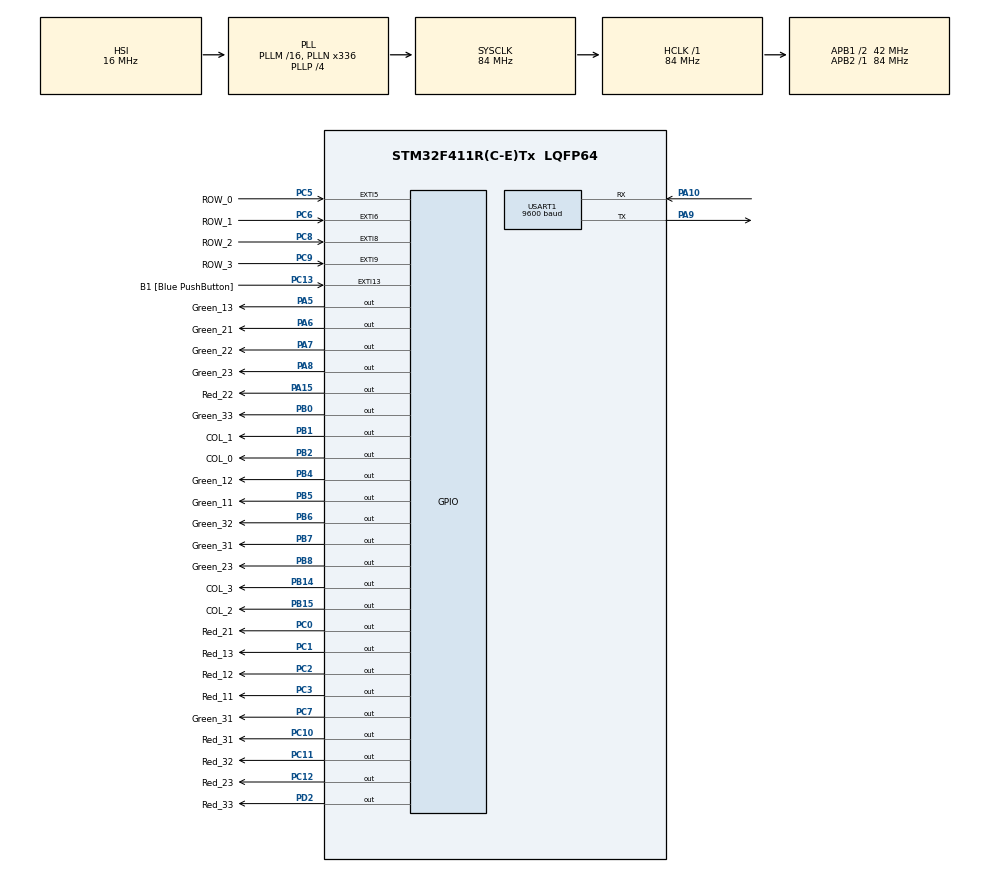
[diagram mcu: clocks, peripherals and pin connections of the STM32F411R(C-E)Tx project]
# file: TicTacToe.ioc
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Mcu.Family=STM32F4
Mcu.Name=STM32F411R(C-E)Tx
Mcu.Package=LQFP64
NVIC.EXTI9_5_IRQn=true\:0\:0\:false\:false\:true\:true\:true\:true
NVIC.PriorityGroup=NVIC_PRIORITYGROUP_0
PA10.Mode=Asynchronous
PA10.Signal=USART1_RX
PA13.GPIO_Label=TMS
PA13.Mode=Serial_Wire
PA13.Signal=SYS_JTMS-SWDIO
PA14.GPIO_Label=TCK
PA14.Mode=Serial_Wire
PA14.Signal=SYS_JTCK-SWCLK
PA15.GPIO_Label=Red_22
PA15.Signal=GPIO_Output
PA5.GPIO_Label=Green_13
PA5.Signal=GPIO_Output
PA6.GPIO_Label=Green_21
PA6.Signal=GPIO_Output
PA7.GPIO_Label=Green_22
PA7.Signal=GPIO_Output
PA8.GPIO_Label=Green_23
PA8.Signal=GPIO_Output
PA9.Mode=Asynchronous
PA9.Signal=USART1_TX
PB0.GPIO_Label=Green_33
PB0.Signal=GPIO_Output
PB1.GPIO_Label=COL_1
PB1.Signal=GPIO_Output
PB14.GPIO_Label=COL_3
PB14.Signal=GPIO_Output
PB15.GPIO_Label=COL_2
PB15.Signal=GPIO_Output
PB2.GPIO_Label=COL_0
PB2.Signal=GPIO_Output
PB3.GPIO_Label=SWO
PB3.Signal=SYS_JTDO-SWO
PB4.GPIO_Label=Green_12
PB4.Signal=GPIO_Output
PB5.GPIO_Label=Green_11
PB5.Signal=GPIO_Output
PB6.GPIO_Label=Green_32
PB6.Signal=GPIO_Output
PB7.GPIO_Label=Green_31
PB7.Signal=GPIO_Output
PB8.GPIO_Label=Green_23
PB8.Signal=GPIO_Output
PC0.GPIO_Label=Red_21
PC0.Signal=GPIO_Output
PC1.GPIO_Label=Red_13
PC1.Signal=GPIO_Output
PC10.GPIO_Label=Red_31
PC10.Signal=GPIO_Output
PC11.GPIO_Label=Red_32
PC11.Signal=GPIO_Output
PC12.GPIO_Label=Red_23
PC12.Signal=GPIO_Output
PC13-ANTI_TAMP.GPIO_Label=B1 [Blue PushButton]
PC13-ANTI_TAMP.GPIO_ModeDefaultEXTI=GPIO_MODE_IT_FALLING
PC13-ANTI_TAMP.Signal=GPXTI13
PC14-OSC32_IN.Mode=LSE-External-Oscillator
PC14-OSC32_IN.Signal=RCC_OSC32_IN
PC15-OSC32_OUT.Mode=LSE-External-Oscillator
PC15-OSC32_OUT.Signal=RCC_OSC32_OUT
PC2.GPIO_Label=Red_12
PC2.Signal=GPIO_Output
PC3.GPIO_Label=Red_11
PC3.Signal=GPIO_Output
PC5.GPIO_Label=ROW_0
PC5.GPIO_ModeDefaultEXTI=GPIO_MODE_IT_RISING
PC5.GPIO_PuPd=GPIO_PULLDOWN
PC5.Signal=GPXTI5
PC6.GPIO_Label=ROW_1
PC6.GPIO_ModeDefaultEXTI=GPIO_MODE_IT_RISING
PC6.GPIO_PuPd=GPIO_PULLDOWN
PC6.Signal=GPXTI6
PC7.GPIO_Label=Green_31
PC7.Signal=GPIO_Output
PC8.GPIO_Label=ROW_2
PC8.GPIO_ModeDefaultEXTI=GPIO_MODE_IT_RISING
PC8.GPIO_PuPd=GPIO_PULLDOWN
PC8.Signal=GPXTI8
PC9.GPIO_Label=ROW_3
PC9.GPIO_ModeDefaultEXTI=GPIO_MODE_IT_RISING
PC9.GPIO_PuPd=GPIO_PULLDOWN
PC9.Signal=GPXTI9
PD2.GPIO_Label=Red_33
PD2.Signal=GPIO_Output
PH0\ -\ OSC_IN.Mode=HSE-External-Clock-Source
PH0\ -\ OSC_IN.Signal=RCC_OSC_IN
PH1\ -\ OSC_OUT.Mode=HSE-External-Clock-Source
PH1\ -\ OSC_OUT.Signal=RCC_OSC_OUT
ProjectManager.HeapSize=0x200
ProjectManager.StackSize=0x400
ProjectManager.TargetToolchain=STM32CubeIDE
RCC.48MHZClocksFreq_Value=84000000
RCC.AHBFreq_Value=84000000
RCC.APB1CLKDivider=RCC_HCLK_DIV2
RCC.APB1Freq_Value=42000000
RCC.APB1TimFreq_Value=84000000
RCC.APB2Freq_Value=84000000
RCC.APB2TimFreq_Value=84000000
RCC.CortexFreq_Value=84000000
RCC.FLatency-AdvancedSettings=FLASH_LATENCY_2
RCC.HCLKFreq_Value=84000000
RCC.HSE_VALUE=8000000
RCC.HSI_VALUE=16000000
RCC.PLLN=336
RCC.PLLP=RCC_PLLP_DIV4
RCC.SYSCLKFreq_VALUE=84000000
RCC.SYSCLKSource=RCC_SYSCLKSOURCE_PLLCLK
RCC.VCOOutputFreq_Value=336000000
USART1.BaudRate=9600
USART1.VirtualMode=VM_ASYNC
board=NUCLEO-F411RE

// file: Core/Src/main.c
/* USER CODE BEGIN Header */
/**
  ******************************************************************************
  * @file           : main.c
  * @brief          : Main program body
  ******************************************************************************
  * @attention
  *
  * Copyright (c) 2023 STMicroelectronics.
  * All rights reserved.
  *
  * This software is licensed under terms that can be found in the LICENSE file
  * in the root directory of this software component.
  * If no LICENSE file comes with this software, it is provided AS-IS.
  *
  ******************************************************************************
  */
/* USER CODE END Header */
#include "main.h"

/* USER CODE BEGIN Includes */
#include "game.h"
#include "lcd.h"

uint8_t key;
volatile uint32_t timer = 0;

/* USER CODE END Includes */

/* USER CODE BEGIN PM */

const uint16_t boardRedPins[3][3] = {
	{Red_11_Pin, Red_12_Pin, Red_13_Pin},
	{Red_21_Pin, Red_22_Pin, Red_23_Pin},
	{Red_31_Pin, Red_32_Pin, Red_33_Pin}
};

const uint16_t boardGreenPins[3][3] = {
	{Green_11_Pin, Green_12_Pin, Green_13_Pin},
	{Green_21_Pin, Green_22_Pin, Green_23_Pin},
	{Green_31_Pin, Green_32_Pin, Green_33_Pin}
};

GPIO_TypeDef* redPinPorts[3][3] = {
	{GPIOC, GPIOC, GPIOC},
	{GPIOC, GPIOA, GPIOC},
	{GPIOC, GPIOC, Red_33_GPIO_Port}
};

GPIO_TypeDef* greenPinPorts[3][3] = {
	{GPIOB, GPIOB, GPIOA},
	{GPIOA, GPIOA, GPIOB},
	{GPIOB, GPIOB, GPIOB}
};

/* USER CODE END PM */

UART_HandleTypeDef huart1;

void SystemClock_Config(void);
static void MX_GPIO_Init(void);
static void MX_USART1_UART_Init(void);
/* USER CODE BEGIN PFP */

void renderState(TicTacToe_State* state);
void renderOnLCD(uint8_t redScore, uint8_t greenScore, char* msg1, char* msg2);
void userInputAndUpdateDisplay(uint8_t* key, uint8_t* timer, TicTacToe_State* state);

/* USER CODE END PFP */

/* USER CODE BEGIN 0 */

void renderState(TicTacToe_State* state) {
	for (int r = 0; r < 3; r++) {
		for (int c = 0; c < 3; c++) {
			if (state->board[r][c] == 'r') {
				HAL_GPIO_WritePin(
					redPinPorts[r][c],
					boardRedPins[r][c],
					1
				);
			} else if (state->board[r][c] == 'g') {
				HAL_GPIO_WritePin(
					greenPinPorts[r][c],
					boardGreenPins[r][c],
					1
				);
			} else if (state->board[r][c] == '-') {
				HAL_GPIO_WritePin(
					redPinPorts[r][c],
					boardRedPins[r][c],
					0
				);

				HAL_GPIO_WritePin(
					greenPinPorts[r][c],
					boardGreenPins[r][c],
					0
				);
			}
		}
	}
}

void renderOnLCD(uint8_t redScore, uint8_t greenScore, char* msg1, char* msg2) {
	char redScoreMsg[20];
	char greenScoreMsg[20];

	sprintf(redScoreMsg, "%s%u", "Red Score: ", redScore);
	sprintf(greenScoreMsg, "%s%u", "Green Score: ", greenScore);

	lcd_write_pos(&huart1, redScoreMsg, strlen(redScoreMsg), 0, 0);
	lcd_write_pos(&huart1, greenScoreMsg, strlen(greenScoreMsg), 1, 0);
	lcd_write_pos(&huart1, msg1, strlen(msg1), 2, 0);
	lcd_write_pos(&huart1, msg2, strlen(msg2), 3, 0);
}

void userInputAndUpdateDisplay(uint8_t* key, uint8_t* timer, TicTacToe_State* state) {
	if (*timer < 100) {
		return;
	}

	if (*key == 0) {
		return;
	}

	uint8_t rowToMove = 0;
	uint8_t colToMove = 0;
	switch(*key) {
		case '1':
			rowToMove = 0;
	  	colToMove = 0;
	  	break;
	  case '2':
	  	rowToMove = 0;
	  	colToMove = 1;
	  	break;
	  case '3':
	  	rowToMove = 0;
	  	colToMove = 2;
	  	break;
	  case '4':
	  	rowToMove = 1;
	  	colToMove = 0;
	  	break;
	  case '5':
	  	rowToMove = 1;
	  	colToMove = 1;
	  	break;
	  case '6':
	  	rowToMove = 1;
	  	colToMove = 2;
	  	break;
	  case '7':
	  	rowToMove = 2;
	  	colToMove = 0;
	  	break;
	  case '8':
	  	rowToMove = 2;
	  	colToMove = 1;
	  	break;
	  case '9':
	  	rowToMove = 2;
	  	colToMove = 2;
	  	break;
	}

	if (state->board[rowToMove][colToMove] != '-') {
		return;
	}
	*state = act(state, rowToMove, colToMove);

	renderState(state);
	lcd_clearScreen(&huart1);

	*key = 0;
	*timer = 0;
}
/* USER CODE END 0 */

int main(void)
{

  /* MCU Configuration--------------------------------------------------------*/

  /* Reset of all peripherals, Initializes the Flash interface and the Systick. */
  HAL_Init();

  /* Configure the system clock */
  SystemClock_Config();

  /* Initialize all configured peripherals */
  MX_GPIO_Init();
  MX_USART1_UART_Init();
  /* USER CODE BEGIN 2 */

  TicTacToe_State state = getInitialState();
  key = 0;
  HAL_GPIO_WritePin(GPIOB, COL_1_Pin|COL_0_Pin|COL_3_Pin|COL_2_Pin, 1);

  renderState(&state);

  uint8_t redScore = 0;
  uint8_t greenScore = 0;
  uint8_t inGame = 0;
  uint8_t isAi = 1;
  /* USER CODE END 2 */

  /* Infinite loop */
  /* USER CODE BEGIN WHILE */
  while (1)
  {
  	if (inGame == 0) {
  		renderOnLCD(redScore, greenScore, "Press A for Human", "Press B for AI");

  		if (timer < 100) {
  		  continue;
  		}

  		if (key == 0) {
  		  continue;
  		}
  		switch(key) {
  			case 'A':
  				isAi = 0;
  				break;
  			case 'B':
  				isAi = 1;
  				break;
  			default:
  				isAi = 0;
  				break;
  		}
  		lcd_clearScreen(&huart1);
  		inGame = 1;

  		key = 0;
  		timer = 0;
  	} else if (inGame == 1) {

  		if (isTerminal(&state) == 1) {
  			if (hasWon(&state, 'r') == 1) {
  				redScore += 1;
  			}

  			if (hasWon(&state, 'g') == 1) {
  				greenScore += 1;
  		  }

  			state = getInitialState();
  			renderState(&state);
  			inGame = 0;
  		}

  		if (state.greenTurn == 1) {
  			renderOnLCD(redScore, greenScore, "Green's Turn", "");
  			userInputAndUpdateDisplay(&key, &timer, &state);

  		}
  		else if (state.greenTurn == 0) {

  			 if (isAi == 1) {
  				 moveToMake AIMove = findMoveByAI(&state);
  				 state = act(&state, AIMove.rowToMove, AIMove.colToMove);

  				 renderState(&state);
  				 lcd_clearScreen(&huart1);
  			 } else {
  				 renderOnLCD(redScore, greenScore, "Red's Turn", "");
  				 userInputAndUpdateDisplay(&key, &timer, &state);
  			 }

  		 }
  	}
    /* USER CODE END WHILE */

  }
}

void SystemClock_Config(void)
{
  RCC_OscInitTypeDef RCC_OscInitStruct = {0};
  RCC_ClkInitTypeDef RCC_ClkInitStruct = {0};

  /** Configure the main internal regulator output voltage
  */
  __HAL_RCC_PWR_CLK_ENABLE();
  __HAL_PWR_VOLTAGESCALING_CONFIG(PWR_REGULATOR_VOLTAGE_SCALE1);

  /** Initializes the RCC Oscillators according to the specified parameters
  * in the RCC_OscInitTypeDef structure.
  */
  RCC_OscInitStruct.OscillatorType = RCC_OSCILLATORTYPE_HSI;
  RCC_OscInitStruct.HSIState = RCC_HSI_ON;
  RCC_OscInitStruct.HSICalibrationValue = RCC_HSICALIBRATION_DEFAULT;
  RCC_OscInitStruct.PLL.PLLState = RCC_PLL_ON;
  RCC_OscInitStruct.PLL.PLLSource = RCC_PLLSOURCE_HSI;
  RCC_OscInitStruct.PLL.PLLM = 16;
  RCC_OscInitStruct.PLL.PLLN = 336;
  RCC_OscInitStruct.PLL.PLLP = RCC_PLLP_DIV4;
  RCC_OscInitStruct.PLL.PLLQ = 4;
  if (HAL_RCC_OscConfig(&RCC_OscInitStruct) != HAL_OK)
  {
    Error_Handler();
  }

  /** Initializes the CPU, AHB and APB buses clocks
  */
  RCC_ClkInitStruct.ClockType = RCC_CLOCKTYPE_HCLK|RCC_CLOCKTYPE_SYSCLK
                              |RCC_CLOCKTYPE_PCLK1|RCC_CLOCKTYPE_PCLK2;
  RCC_ClkInitStruct.SYSCLKSource = RCC_SYSCLKSOURCE_PLLCLK;
  RCC_ClkInitStruct.AHBCLKDivider = RCC_SYSCLK_DIV1;
  RCC_ClkInitStruct.APB1CLKDivider = RCC_HCLK_DIV2;
  RCC_ClkInitStruct.APB2CLKDivider = RCC_HCLK_DIV1;

  if (HAL_RCC_ClockConfig(&RCC_ClkInitStruct, FLASH_LATENCY_2) != HAL_OK)
  {
    Error_Handler();
  }
}

static void MX_USART1_UART_Init(void)
{

  huart1.Instance = USART1;
  huart1.Init.BaudRate = 9600;
  huart1.Init.WordLength = UART_WORDLENGTH_8B;
  huart1.Init.StopBits = UART_STOPBITS_1;
  huart1.Init.Parity = UART_PARITY_NONE;
  huart1.Init.Mode = UART_MODE_TX_RX;
  huart1.Init.HwFlowCtl = UART_HWCONTROL_NONE;
  huart1.Init.OverSampling = UART_OVERSAMPLING_16;
  if (HAL_UART_Init(&huart1) != HAL_OK)
  {
    Error_Handler();
  }

}

static void MX_GPIO_Init(void)
{
  GPIO_InitTypeDef GPIO_InitStruct = {0};

  /* GPIO Ports Clock Enable */
  __HAL_RCC_GPIOC_CLK_ENABLE();
  __HAL_RCC_GPIOH_CLK_ENABLE();
  __HAL_RCC_GPIOA_CLK_ENABLE();
  __HAL_RCC_GPIOB_CLK_ENABLE();
  __HAL_RCC_GPIOD_CLK_ENABLE();

  /*Configure GPIO pin Output Level */
  HAL_GPIO_WritePin(GPIOC, Red_21_Pin|Red_13_Pin|Red_12_Pin|Red_11_Pin
                          |Green_31_Pin|Red_31_Pin|Red_32_Pin|Red_23_Pin, GPIO_PIN_RESET);

  /*Configure GPIO pin Output Level */
  HAL_GPIO_WritePin(GPIOA, Green_13_Pin|Green_21_Pin|Green_22_Pin|Green_23_Pin
                          |Red_22_Pin, GPIO_PIN_RESET);

  /*Configure GPIO pin Output Level */
  HAL_GPIO_WritePin(GPIOB, Green_33_Pin|COL_1_Pin|COL_0_Pin|COL_3_Pin
                          |COL_2_Pin|Green_12_Pin|Green_11_Pin|Green_32_Pin
                          |Green_31B7_Pin|Green_23B8_Pin, GPIO_PIN_RESET);

  /*Configure GPIO pin Output Level */
  HAL_GPIO_WritePin(Red_33_GPIO_Port, Red_33_Pin, GPIO_PIN_RESET);

  /*Configure GPIO pin : B1_Pin */
  GPIO_InitStruct.Pin = B1_Pin;
  GPIO_InitStruct.Mode = GPIO_MODE_IT_FALLING;
  GPIO_InitStruct.Pull = GPIO_NOPULL;
  HAL_GPIO_Init(B1_GPIO_Port, &GPIO_InitStruct);

  /*Configure GPIO pins : Red_21_Pin Red_13_Pin Red_12_Pin Red_11_Pin
                           Green_31_Pin Red_31_Pin Red_32_Pin Red_23_Pin */
  GPIO_InitStruct.Pin = Red_21_Pin|Red_13_Pin|Red_12_Pin|Red_11_Pin
                          |Green_31_Pin|Red_31_Pin|Red_32_Pin|Red_23_Pin;
  GPIO_InitStruct.Mode = GPIO_MODE_OUTPUT_PP;
  GPIO_InitStruct.Pull = GPIO_NOPULL;
  GPIO_InitStruct.Speed = GPIO_SPEED_FREQ_LOW;
  HAL_GPIO_Init(GPIOC, &GPIO_InitStruct);

  /*Configure GPIO pins : Green_13_Pin Green_21_Pin Green_22_Pin Green_23_Pin
                           Red_22_Pin */
  GPIO_InitStruct.Pin = Green_13_Pin|Green_21_Pin|Green_22_Pin|Green_23_Pin
                          |Red_22_Pin;
  GPIO_InitStruct.Mode = GPIO_MODE_OUTPUT_PP;
  GPIO_InitStruct.Pull = GPIO_NOPULL;
  GPIO_InitStruct.Speed = GPIO_SPEED_FREQ_LOW;
  HAL_GPIO_Init(GPIOA, &GPIO_InitStruct);

  /*Configure GPIO pins : ROW_0_Pin ROW_1_Pin ROW_2_Pin ROW_3_Pin */
  GPIO_InitStruct.Pin = ROW_0_Pin|ROW_1_Pin|ROW_2_Pin|ROW_3_Pin;
  GPIO_InitStruct.Mode = GPIO_MODE_IT_RISING;
  GPIO_InitStruct.Pull = GPIO_PULLDOWN;
  HAL_GPIO_Init(GPIOC, &GPIO_InitStruct);

  /*Configure GPIO pins : Green_33_Pin COL_1_Pin COL_0_Pin COL_3_Pin
                           COL_2_Pin Green_12_Pin Green_11_Pin Green_32_Pin
                           Green_31B7_Pin Green_23B8_Pin */
  GPIO_InitStruct.Pin = Green_33_Pin|COL_1_Pin|COL_0_Pin|COL_3_Pin
                          |COL_2_Pin|Green_12_Pin|Green_11_Pin|Green_32_Pin
                          |Green_31B7_Pin|Green_23B8_Pin;
  GPIO_InitStruct.Mode = GPIO_MODE_OUTPUT_PP;
  GPIO_InitStruct.Pull = GPIO_NOPULL;
  GPIO_InitStruct.Speed = GPIO_SPEED_FREQ_LOW;
  HAL_GPIO_Init(GPIOB, &GPIO_InitStruct);

  /*Configure GPIO pin : Red_33_Pin */
  GPIO_InitStruct.Pin = Red_33_Pin;
  GPIO_InitStruct.Mode = GPIO_MODE_OUTPUT_PP;
  GPIO_InitStruct.Pull = GPIO_NOPULL;
  GPIO_InitStruct.Speed = GPIO_SPEED_FREQ_LOW;
  HAL_GPIO_Init(Red_33_GPIO_Port, &GPIO_InitStruct);

  /* EXTI interrupt init*/
  HAL_NVIC_SetPriority(EXTI9_5_IRQn, 0, 0);
  HAL_NVIC_EnableIRQ(EXTI9_5_IRQn);

}

void Error_Handler(void)
{
  __disable_irq();
  while (1)
  {
  }
}
